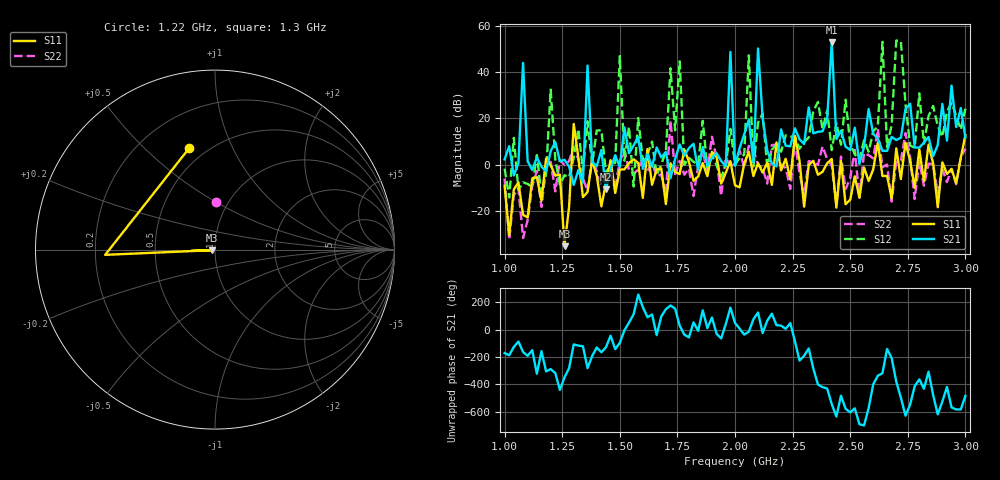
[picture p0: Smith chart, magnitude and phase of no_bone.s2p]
# MHz S MA R 50
!  freq  S11  S21  S12  S22
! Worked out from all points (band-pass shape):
!   101 points, 1 GHz to 3 GHz, reference 50 ohm
!   highest |S21| = 53.02 dB at 2.42 GHz (marker M1); lowest = -10.7 dB at 1.44 GHz (marker M2)
!   |S21| within 3 dB of the highest: 2.099914 GHz to 2.100141 GHz (226.3 kHz wide, 0.0108 % of centre); 2.418205 GHz to 2.421432 GHz (3.228 MHz wide, 0.133 % of centre)
!   lowest |S11| = -35.2 dB at 1.26 GHz (marker M3), VSWR 1.04, Z = 48.3 - j0.317 ohm
!   |S11| at or under -10 dB: 1.001 GHz to 1.044 GHz (43.44 MHz wide, 4.25 % of centre); 1.063 GHz to 1.115 GHz (51.74 MHz wide, 4.75 % of centre); 1.244 GHz to 1.285 GHz (40.79 MHz wide, 3.23 % of centre) (the widest 3 of 15)
!   |S22| runs from -32.3 to 19.1 dB; largest |S21 - S12| = 4.8e+02
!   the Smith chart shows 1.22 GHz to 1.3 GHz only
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1000  0.3531 68.8  1.307 -171.3  0.8268 -171.7  0.5022 165.1
1260  0.01745 -169.2  1.28 11.7  0.5937 -101.7  0.9949 -76.7
1340  0.2 127.5  0.4123 -121.4  0.7457 9.8  0.519 87.9
1440  0.4147 64.0  0.2925 -128.8  0.7041 -99.3  0.583 78.9
1680  0.8398 144.4  1.448 96.0  1.01 99.5  0.615 100.5
1960  0.6709 66.2  0.9334 40.4  0.9648 49.2  1.469 166.2
1980  1.195 -102.9  273.6 159.7  5.979 -95.9  0.8997 -103.0
2000  0.3611 160.1  0.9509 48.5  1.012 67.0  1.079 155.7
2100  1.083 77.3  324.8 124.3  8.071 -20.0  0.9995 86.8
2120  0.6761 -60.8  10.33 -25.7  12.82 137.9  0.8377 -61.0
2340  1.216 63.2  4.791 75.5  14.25 -109.7  1.113 77.8
2400  1.078 41.2  9.549 -69.6  14.87 154.6  1.334 46.9
2420  1.333 59.1  447.7 176.9  2.07 155.3  0.9733 98.7
2440  0.1181 -97.1  3.602 86.2  7.98 132.1  0.1361 -86.1
2620  3.026 26.6  3.686 24.1  6.835 -168.6  5.899 109.7
2640  0.5701 4.9  1.998 41.9  451.1 -86.6  0.8902 31.6
2660  0.577 -82.8  1.997 -141.4  2.429 -74.5  1.004 44.2
2680  0.1867 -26.1  4 152.4  7.426 -176.4  0.1606 2.0
2700  2.264 62.7  3.422 -19.5  483.9 31.8  1.157 85.3
2720  0.4929 -100.6  3.841 -136.4  462.9 121.6  1.227 61.2
2740  2.998 2.0  15.91 92.8  20.4 63.6  4.811 59.4
3000  4.396 105.9  3.855 -123.7  16.27 -113.3  2.21 -66.2
